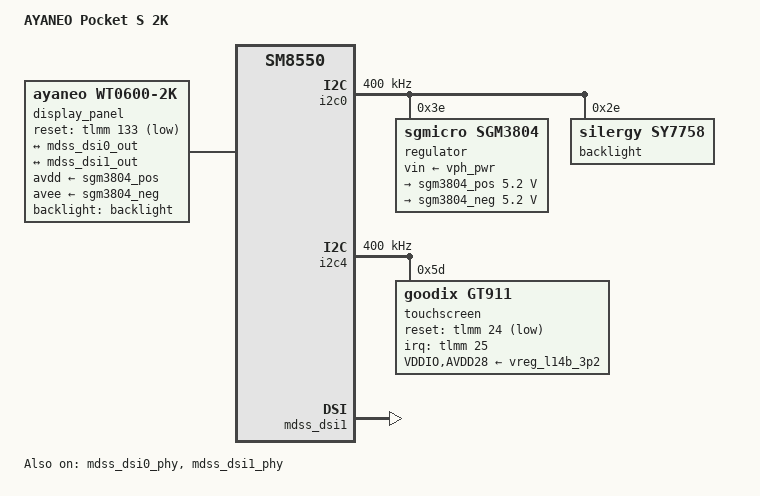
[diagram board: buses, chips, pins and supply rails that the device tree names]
// SPDX-License-Identifier: BSD-3-Clause
/*
 * Copyright (c) 2024 Linaro Limited
 * Copyright (c) 2025, Kancy Joe <kancy2333@outlook.com>
 * Copyright (c) 2025, ROCKNIX (https://github.com/ROCKNIX)
 */

/dts-v1/;

#include "qcs8550-ayaneo-pocket-common.dtsi"

/ {
	model = "AYANEO Pocket S 2K";
	compatible = "ayaneo,pocket-s1", "qcom,sm8550";
	chassis-type = "handset";
};

&tlmm {
	panel_pwr_active: panel-pwr-active-state {
		pins = "gpio72", "gpio42", "gpio152", "gpio153";
		function = "gpio";
		drive-strength = <8>;
		bias-disable;
		output-high;
	};

	panel_pwr_sleep: panel-pwr-sleep-state {
		pins = "gpio72", "gpio42", "gpio152", "gpio153";
		function = "gpio";
		output-low;
	};

	backlight_pwr_active: backlight-pwr-active-state {
		pins = "gpio41";
		function = "gpio";
		drive-strength = <8>;
		bias-disable;
		output-high;
	};

	backlight_pwr_sleep: backlight-pwr-sleep-state {
		pins = "gpio41";
		function = "gpio";
		output-low;
	};

	ts_irq: ts-irq-state {
		pins = "gpio25";
		function = "gpio";
		drive-strength = <8>;
		bias-disable;
		input-enable;
	};

	ts_reset: ts-reset-state {
		pins = "gpio24";
		function = "gpio";
		drive-strength = <8>;
		input-enable;
		bias-pull-down;
	};
};

&i2c0 {
   clock-frequency = <400000>;
	status = "okay";

	/* Screen power */
	regulator@3e {
		compatible = "sgmicro,sgm3804";
		reg = <0x3e>;
		pinctrl-0 = <&panel_pwr_active>;
		pinctrl-1 = <&panel_pwr_sleep>;
		pinctrl-names = "default", "sleep";

		vin-supply = <&vph_pwr>;

		sgm3804_pos: pos {
			regulator-name = "panel-avdd";
			regulator-min-microvolt = <5200000>;
			regulator-max-microvolt = <5200000>;
			regulator-active-discharge = <1>;
			regulator-boot-on;
			enable-gpios = <&tlmm 152 GPIO_ACTIVE_HIGH>;
		};

		sgm3804_neg: neg {
			regulator-name = "panel-avee";
			regulator-min-microvolt = <5200000>;
			regulator-max-microvolt = <5200000>;
			regulator-active-discharge = <1>;
			regulator-boot-on;
			enable-gpios = <&tlmm 153 GPIO_ACTIVE_HIGH>;
		};
	};

	/* Backlight */
	backlight: sy7758@2e {
		compatible = "silergy,sy7758";
		reg = <0x2e>;
		pinctrl-0 = <&backlight_pwr_active>;
		pinctrl-1 = <&backlight_pwr_sleep>;
		pinctrl-names = "default", "sleep";
		status = "okay";
	};
};

&i2c4 {
	status = "okay";
	clock-frequency = <400000>;

	touchscreen@5d {
		reg = <0x5d>;
		status = "okay";
		compatible = "goodix,gt911";

		interrupt-parent = <&tlmm>;
		interrupts = <25 IRQ_TYPE_EDGE_FALLING>;

		reset-gpios = <&tlmm 24 GPIO_ACTIVE_LOW>;
		VDDIO-supply = <&vreg_l14b_3p2>;
		AVDD28-supply = <&vreg_l14b_3p2>;

		touchscreen-size-x = <1440>;
		touchscreen-size-y = <2560>;

		pinctrl-names = "default";
		pinctrl-0 = <&ts_reset>, <&ts_irq>;
	};
};

/* wt0600 60hz 2k dual dsi dphy panel */
&mdss_dsi0 {
	qcom,master-dsi;
	qcom,dual-dsi-mode;
	qcom,sync-dual-dsi;
};

&mdss_dsi0_out {
	remote-endpoint = <&panel0_in_0>;
	data-lanes = <0 1 2 3>;
};

&mdss_dsi0_phy {
	vdds-supply = <&vreg_l1e_0p88>;
	status = "okay";
};

&mdss_dsi1 {
	vdda-supply = <&vreg_l3e_1p2>;
	qcom,dual-dsi-mode;
	qcom,sync-dual-dsi;
	assigned-clock-parents = <&mdss_dsi0_phy DSI_BYTE_PLL_CLK>, <&mdss_dsi0_phy DSI_PIXEL_PLL_CLK>;
	status = "okay";
};

&mdss_dsi1_out {
	remote-endpoint = <&panel0_in_1>;
	data-lanes = <0 1 2 3>;
};

&mdss_dsi1_phy {
	vdds-supply = <&vreg_l1e_0p88>;
	status = "okay";
};

&display_panel {
	status = "okay";
	compatible = "ayaneo,wt0600-2k";

	avdd-supply = <&sgm3804_pos>;
	avee-supply = <&sgm3804_neg>;

	reset-gpios = <&tlmm 133 GPIO_ACTIVE_LOW>;
	backlight = <&backlight>;
	rotation = <90>;

	ports {
		#address-cells = <1>;
		#size-cells = <0>;

		port@0 {
			reg = <0>;
			panel0_in_0: endpoint {
				remote-endpoint = <&mdss_dsi0_out>;
			};
		};

		port@1{
			reg = <1>;
			panel0_in_1: endpoint {
				remote-endpoint = <&mdss_dsi1_out>;
			};
		};
	};
};
